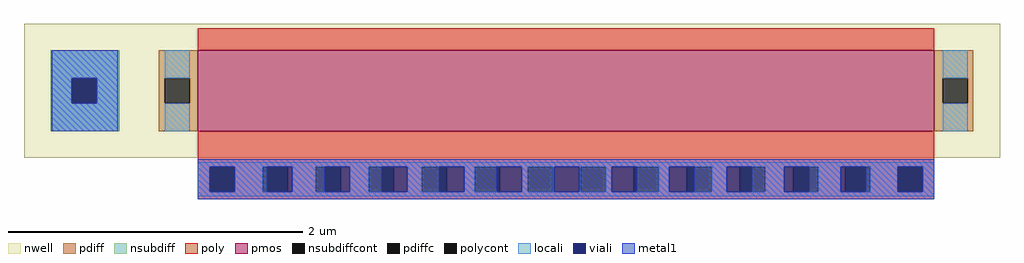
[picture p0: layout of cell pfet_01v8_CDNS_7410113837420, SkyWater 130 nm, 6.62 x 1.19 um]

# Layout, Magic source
magic
tech sky130A
magscale 1 2
<< nwell >>
rect -236 -36 1089 146
<< pmos >>
rect 0 0 1000 110
<< pdiff >>
rect -53 72 0 110
rect -53 38 -45 72
rect -11 38 0 72
rect -53 0 0 38
rect 1000 72 1053 110
rect 1000 38 1011 72
rect 1045 38 1053 72
rect 1000 0 1053 38
<< pdiffc >>
rect -45 38 -11 72
rect 1011 38 1045 72
<< nsubdiff >>
rect -200 72 -107 110
rect -200 38 -171 72
rect -137 38 -107 72
rect -200 0 -107 38
<< nsubdiffcont >>
rect -171 38 -137 72
<< poly >>
rect 0 110 1000 140
rect 0 -48 1000 0
rect 0 -82 16 -48
rect 50 -82 88 -48
rect 122 -82 160 -48
rect 194 -82 232 -48
rect 266 -82 304 -48
rect 338 -82 376 -48
rect 410 -82 448 -48
rect 482 -82 520 -48
rect 554 -82 592 -48
rect 626 -82 664 -48
rect 698 -82 736 -48
rect 770 -82 808 -48
rect 842 -82 879 -48
rect 913 -82 950 -48
rect 984 -82 1000 -48
rect 0 -92 1000 -82
<< polycont >>
rect 16 -82 50 -48
rect 88 -82 122 -48
rect 160 -82 194 -48
rect 232 -82 266 -48
rect 304 -82 338 -48
rect 376 -82 410 -48
rect 448 -82 482 -48
rect 520 -82 554 -48
rect 592 -82 626 -48
rect 664 -82 698 -48
rect 736 -82 770 -48
rect 808 -82 842 -48
rect 879 -82 913 -48
rect 950 -82 984 -48
<< locali >>
rect -198 72 -109 110
rect -198 38 -171 72
rect -137 38 -109 72
rect -198 0 -109 38
rect -45 72 -11 110
rect -45 0 -11 38
rect 1011 72 1045 110
rect 1011 0 1045 38
rect 0 -48 1000 -42
rect 0 -82 16 -48
rect 50 -82 88 -48
rect 128 -82 160 -48
rect 206 -82 232 -48
rect 284 -82 304 -48
rect 362 -82 376 -48
rect 440 -82 448 -48
rect 482 -82 484 -48
rect 518 -82 520 -48
rect 554 -82 562 -48
rect 626 -82 640 -48
rect 698 -82 718 -48
rect 770 -82 796 -48
rect 842 -82 873 -48
rect 913 -82 950 -48
rect 984 -82 1000 -48
rect 0 -88 1000 -82
<< viali >>
rect -171 38 -137 72
rect 16 -82 50 -48
rect 94 -82 122 -48
rect 122 -82 128 -48
rect 172 -82 194 -48
rect 194 -82 206 -48
rect 250 -82 266 -48
rect 266 -82 284 -48
rect 328 -82 338 -48
rect 338 -82 362 -48
rect 406 -82 410 -48
rect 410 -82 440 -48
rect 484 -82 518 -48
rect 562 -82 592 -48
rect 592 -82 596 -48
rect 640 -82 664 -48
rect 664 -82 674 -48
rect 718 -82 736 -48
rect 736 -82 752 -48
rect 796 -82 808 -48
rect 808 -82 830 -48
rect 873 -82 879 -48
rect 879 -82 907 -48
rect 950 -82 984 -48
<< metal1 >>
rect -198 72 -109 110
rect -198 38 -171 72
rect -137 38 -109 72
rect -198 0 -109 38
rect 0 -48 1000 -38
rect 0 -82 16 -48
rect 50 -82 94 -48
rect 128 -82 172 -48
rect 206 -82 250 -48
rect 284 -82 328 -48
rect 362 -82 406 -48
rect 440 -82 484 -48
rect 518 -82 562 -48
rect 596 -82 640 -48
rect 674 -82 718 -48
rect 752 -82 796 -48
rect 830 -82 873 -48
rect 907 -82 950 -48
rect 984 -82 1000 -48
rect 0 -92 1000 -82
<< end >>
